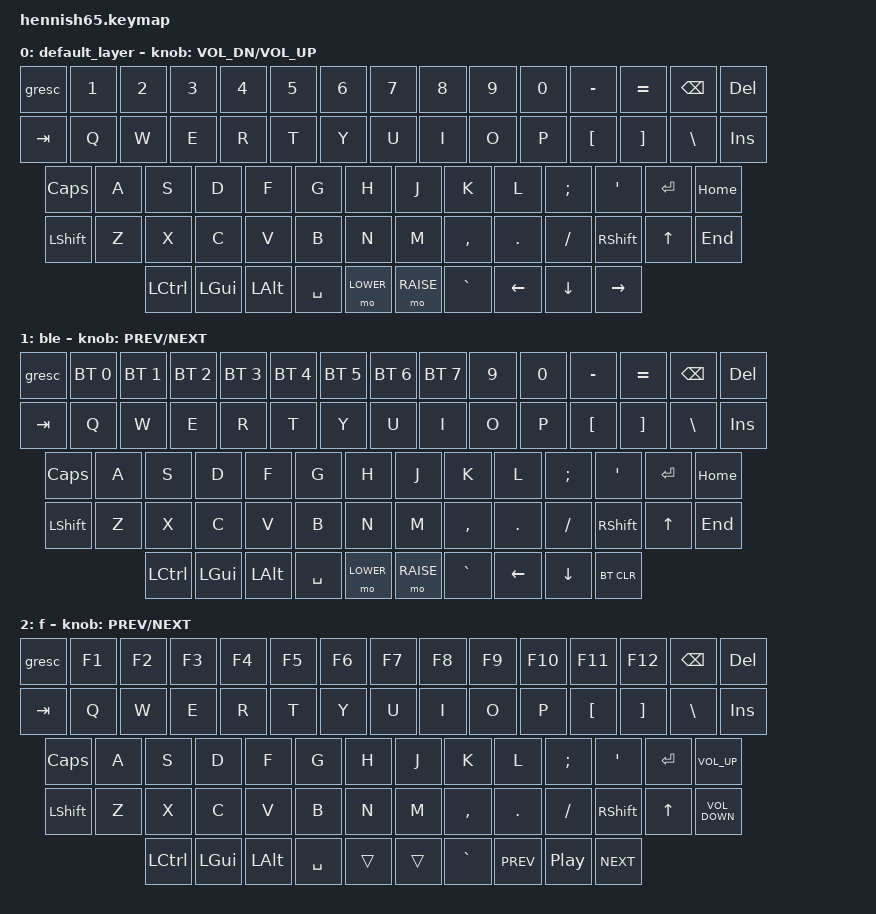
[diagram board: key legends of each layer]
#include <behaviors.dtsi>
#include <dt-bindings/zmk/keys.h>
#include <dt-bindings/zmk/bt.h>
#include <dt-bindings/zmk/outputs.h>
#include <dt-bindings/zmk/rgb.h>
#include <dt-bindings/zmk/ext_power.h>
  
#define DEFAULT 0
#define LOWER   1
#define RAISE   2
   
/{
   
    keymap {
        compatible = "zmk,keymap";
 
        default_layer {
 //   |  ESC  |  1  |  2  |  3  |  4  |  5  |  6  |  7  |  8  |  9  |  0  |  -  |  +  |  backspace  |
 //   |  tab  |  q  |  w  |  e  |  r  |  t  |  y  |  u  |  i  |  o  |  p  |  [  |  ]  |  \  |
 //   |  caps  |  a  |  s  |  d  |  f  |  g  |  h  |  j  |  k  |  l  |  ;  |  '  |  enter  |  encoder_button  |
 //   |  shift  |  z  |  x  |  c  |  v  |  b  |  n  |  m  |  ,  |  .  |  /  |  shift  |  up  |  extra  |
 //   |  ctrl  |  win  |  alt    |  space    |  alt  |  win  |  menu  |  left  |  down  |  right  |


            bindings = <
&gresc  &kp N1  &kp N2  &kp N3  &kp N4  &kp N5  &kp N6  &kp N7  &kp N8  &kp N9  &kp N0  &kp MINUS  &kp EQUAL  &kp BSPC &kp DEL
&kp TAB  &kp Q  &kp W  &kp E  &kp R  &kp T  &kp Y  &kp U  &kp I  &kp O  &kp P  &kp LBKT  &kp RBKT &kp BSLH &kp INS
&kp CAPS  &kp A  &kp S  &kp D  &kp F  &kp G  &kp H  &kp J  &kp K  &kp L  &kp SEMI  &kp SQT  &kp ENTER  &kp HOME
&kp LSHFT  &kp Z  &kp X  &kp C  &kp V  &kp B  &kp N  &kp M  &kp COMMA  &kp DOT  &kp FSLH  &kp RSHFT  &kp UP  &kp END
&kp LCTRL  &kp LGUI  &kp LALT      &kp SPACE      &mo LOWER  &mo RAISE  &kp GRAVE  &kp LEFT  &kp DOWN  &kp RIGHT
            >;

            sensor-bindings = <&inc_dec_kp C_VOL_DN C_VOL_UP>;
        };

        ble {
 //   |  ESC  |  1  |  2  |  3  |  4  |  5  |  6  |  7  |  8  |  9  |  0  |  -  |  +  |  backspace  |
 //   |  tab  |  q  |  w  |  e  |  r  |  t  |  y  |  u  |  i  |  o  |  p  |  [  |  ]  |  \  |
 //   |  caps  |  a  |  s  |  d  |  f  |  g  |  h  |  j  |  k  |  l  |  ;  |  '  |  enter  |  encoder_button  |
 //   |  shift  |  z  |  x  |  c  |  v  |  b  |  n  |  m  |  ,  |  .  |  /  |  shift  |  up  |  extra  |
 //   |  ctrl  |  win  |  alt    |  space    |  alt  |  win  |  menu  |  left  |  down  |  right  |


            bindings = <
&gresc  &bt BT_SEL 0 &bt BT_SEL 1  &bt BT_SEL 2  &bt BT_SEL 3  &bt BT_SEL 4  &bt BT_SEL 5  &bt BT_SEL 6  &bt BT_SEL 7  &kp N9  &kp N0  &kp MINUS  &kp EQUAL  &kp BSPC &kp DEL
&kp TAB  &kp Q  &kp W  &kp E  &kp R  &kp T  &kp Y  &kp U  &kp I  &kp O  &kp P  &kp LBKT  &kp RBKT &kp BSLH &kp INS
&kp CAPS &kp A  &kp S  &kp D  &kp F  &kp G  &kp H  &kp J  &kp K  &kp L  &kp SEMI  &kp SQT  &kp ENTER  &kp HOME
&kp LSHFT  &kp Z  &kp X  &kp C  &kp V  &kp B  &kp N  &kp M  &kp COMMA  &kp DOT  &kp FSLH  &kp RSHFT  &kp UP  &kp END
&kp LCTRL  &kp LGUI  &kp LALT      &kp SPACE      &mo LOWER  &mo RAISE  &kp GRAVE  &kp LEFT  &kp DOWN  &bt BT_CLR
            >;

            sensor-bindings = <&inc_dec_kp C_PREV C_NEXT>;
        };

        f {
 //   |  ESC  |  1  |  2  |  3  |  4  |  5  |  6  |  7  |  8  |  9  |  0  |  -  |  +  |  backspace  |
 //   |  tab  |  q  |  w  |  e  |  r  |  t  |  y  |  u  |  i  |  o  |  p  |  [  |  ]  |  \  |
 //   |  caps  |  a  |  s  |  d  |  f  |  g  |  h  |  j  |  k  |  l  |  ;  |  '  |  enter  |  encoder_button  |
 //   |  shift  |  z  |  x  |  c  |  v  |  b  |  n  |  m  |  ,  |  .  |  /  |  shift  |  up  |  extra  |
 //   |  ctrl  |  win  |  alt    |  space    |  alt  |  win  |  menu  |  left  |  down  |  right  |


            bindings = <
&gresc  &kp F1  &kp F2  &kp F3  &kp F4  &kp F5  &kp F6  &kp F7  &kp F8  &kp F9  &kp F10  &kp F11  &kp F12  &kp BSPC &kp DEL
&kp TAB  &kp Q  &kp W  &kp E  &kp R  &kp T  &kp Y  &kp U  &kp I  &kp O  &kp P  &kp LBKT  &kp RBKT &kp BSLH &kp INS
&kp CAPS  &kp A  &kp S  &kp D  &kp F  &kp G  &kp H  &kp J  &kp K  &kp L  &kp SEMI  &kp SQT  &kp ENTER  &kp C_VOLUME_UP
&kp LSHFT  &kp Z  &kp X  &kp C  &kp V  &kp B  &kp N  &kp M  &kp COMMA  &kp DOT  &kp FSLH  &kp RSHFT  &kp UP  &kp C_VOLUME_DOWN
&kp LCTRL  &kp LGUI  &kp LALT      &kp SPACE      &trans   &trans  &kp GRAVE  &kp C_PREV  &kp C_PLAY_PAUSE  &kp C_NEXT
            >;

            sensor-bindings = <&inc_dec_kp C_PREV C_NEXT>;
        };

    };
};
